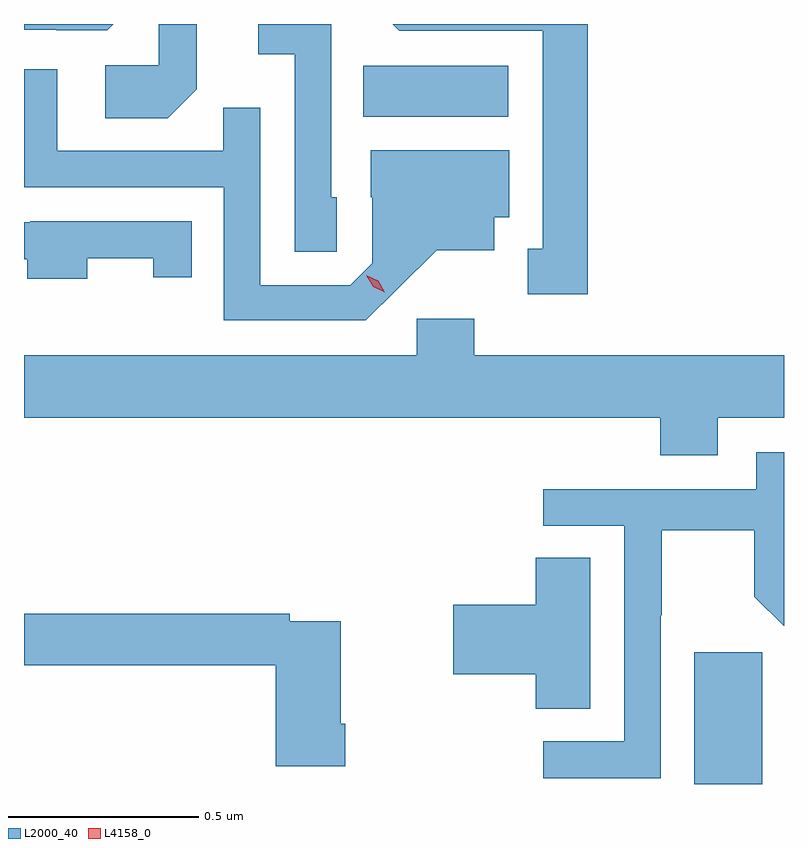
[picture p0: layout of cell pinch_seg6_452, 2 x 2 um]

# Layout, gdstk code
import gdstk
lib = gdstk.Library(unit=1e-6, precision=1e-09)
def R(c, l, rs):  # rectangles x0, y0, x1, y1
    for r in rs: c.add(gdstk.rectangle(r[:2], r[2:], *l))
def P(c, l, *ps):  # polygons
    for p in ps: c.add(gdstk.Polygon(p, *l))
L2000_40 = (2000, 40)
L4158_0 = (4158, 0)

pinch_seg6_452 = lib.new_cell('pinch_seg6_452')
R(pinch_seg6_452, L2000_40, [(755.843,921.064,756.022,921.411), (754.972,922.82,755.353,922.954)])
P(pinch_seg6_452, L2000_40, [(754.533,922.892),(754.533,923.064),(754.434,923.064),(754.434,922.956),(754.293,922.956),(754.293,922.816),(754.457,922.816)],
  [(755.563,923.064),(755.049,923.064),(755.067,923.046),(755.444,923.046),(755.444,922.473),(755.405,922.473),(755.405,922.353),(755.563,922.353)],
  [(754.314,923.064),(754.079,923.064),(754.079,923.049),(754.164,923.049),(754.164,923.048),(754.298,923.048)],
  [(754.902,922.608),(754.887,922.608),(754.887,923.064),(754.695,923.064),(754.695,922.985),(754.791,922.985),(754.791,922.465),(754.902,922.465)],
  [(755.062,922.367),(755.165,922.469),(755.317,922.469),(755.317,922.556),(755.356,922.556),(755.356,922.732),(754.991,922.732),(754.991,922.608),(754.995,922.608),(754.995,922.434),(754.938,922.377),(754.701,922.377),(754.701,922.844),(754.603,922.844),(754.603,922.731),(754.167,922.731),(754.167,922.945),(754.079,922.945),(754.079,922.635),(754.605,922.635),(754.605,922.284),(754.978,922.284)],
  [(754.246,922.447),(754.419,922.447),(754.419,922.398),(754.52,922.398),(754.52,922.545),(754.096,922.545),(754.096,922.542),(754.079,922.542),(754.079,922.445),(754.088,922.445),(754.088,922.394),(754.246,922.394)],
  [(755.905,922.028),(756.079,922.028),(756.079,922.192),(755.264,922.192),(755.264,922.288),(755.112,922.288),(755.112,922.192),(754.079,922.192),(754.079,922.028),(755.753,922.028),(755.753,921.929),(755.905,921.929)],
  [(755.754,921.508),(755.757,921.508),(755.757,921.732),(756.001,921.732),(756.001,921.557),(756.078,921.48),(756.079,921.481),(756.079,921.937),(756.006,921.937),(756.006,921.84),(755.445,921.84),(755.445,921.744),(755.658,921.744),(755.658,921.177),(755.445,921.177),(755.445,921.079),(755.754,921.079)],
  [(755.569,921.659),(755.426,921.659),(755.426,921.536),(755.208,921.536),(755.208,921.353),(755.426,921.353),(755.426,921.262),(755.569,921.262)],
  [(754.925,921.223),(754.912,921.223),(754.912,921.492),(754.778,921.492),(754.778,921.512),(754.079,921.512),(754.079,921.376),(754.742,921.376),(754.742,921.111),(754.925,921.111)])
P(pinch_seg6_452, L4158_0, [(755.028,922.358),(754.998,922.373),(754.98,922.403),(754.98,922.403),(754.98,922.403),(755.011,922.388),(755.028,922.358),(755.028,922.358)])

lib.write_gds('pinch_seg6_452.gds')
